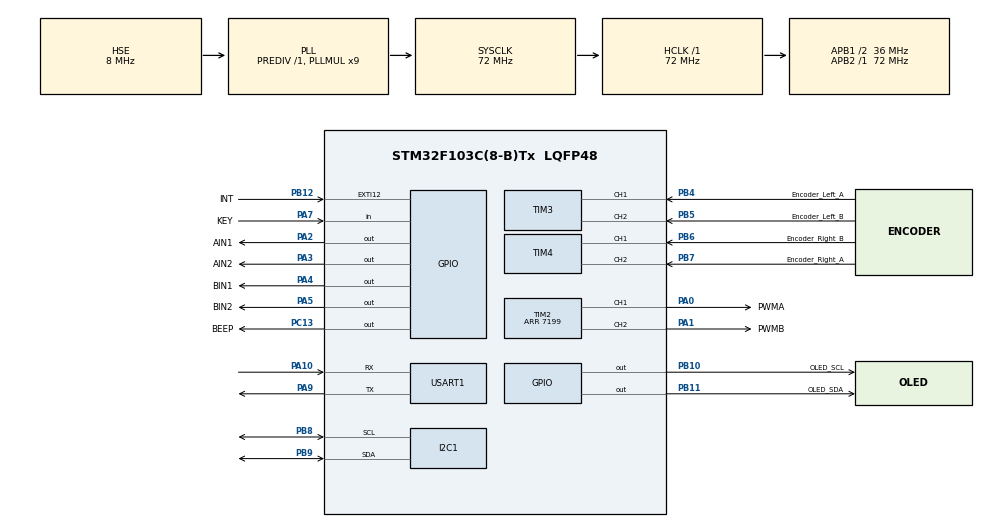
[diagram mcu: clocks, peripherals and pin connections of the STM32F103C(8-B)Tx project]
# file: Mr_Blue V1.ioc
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I2C1.I2C_Mode=I2C_Fast
Mcu.Family=STM32F1
Mcu.Name=STM32F103C(8-B)Tx
Mcu.Package=LQFP48
NVIC.EXTI15_10_IRQn=true\:3\:0\:true\:false\:true\:true\:true\:true
NVIC.PriorityGroup=NVIC_PRIORITYGROUP_2
NVIC.TIM1_BRK_IRQn=true\:0\:0\:false\:false\:true\:true\:true\:true
NVIC.TIM2_IRQn=true\:0\:0\:false\:false\:true\:true\:true\:true
NVIC.TIM3_IRQn=true\:0\:0\:false\:false\:true\:true\:true\:true
NVIC.TIM4_IRQn=true\:0\:0\:false\:false\:true\:true\:true\:true
NVIC.USART1_IRQn=true\:0\:0\:false\:false\:true\:true\:true\:true
PA0-WKUP.GPIO_Label=PWMA
PA0-WKUP.GPIO_ModeDefaultPP=GPIO_MODE_AF_PP
PA0-WKUP.GPIO_Speed=GPIO_SPEED_FREQ_HIGH
PA0-WKUP.Signal=S_TIM2_CH1_ETR
PA1.GPIO_Label=PWMB
PA1.GPIO_Speed=GPIO_SPEED_FREQ_HIGH
PA1.Signal=S_TIM2_CH2
PA10.Mode=Asynchronous
PA10.Signal=USART1_RX
PA13.Mode=Serial_Wire
PA13.Signal=SYS_JTMS-SWDIO
PA14.Mode=Serial_Wire
PA14.Signal=SYS_JTCK-SWCLK
PA2.GPIO_Label=AIN1
PA2.GPIO_ModeDefaultOutputPP=GPIO_MODE_OUTPUT_PP
PA2.GPIO_PuPd=GPIO_NOPULL
PA2.GPIO_Speed=GPIO_SPEED_FREQ_HIGH
PA2.PinState=GPIO_PIN_RESET
PA2.Signal=GPIO_Output
PA3.GPIO_Label=AIN2
PA3.GPIO_PuPd=GPIO_NOPULL
PA3.GPIO_Speed=GPIO_SPEED_FREQ_HIGH
PA3.PinState=GPIO_PIN_RESET
PA3.Signal=GPIO_Output
PA4.GPIO_Label=BIN1
PA4.GPIO_Speed=GPIO_SPEED_FREQ_HIGH
PA4.PinState=GPIO_PIN_RESET
PA4.Signal=GPIO_Output
PA5.GPIO_Label=BIN2
PA5.GPIO_Speed=GPIO_SPEED_FREQ_HIGH
PA5.PinState=GPIO_PIN_RESET
PA5.Signal=GPIO_Output
PA7.GPIO_Label=KEY
PA7.GPIO_PuPd=GPIO_PULLUP
PA7.Signal=GPIO_Input
PA9.Mode=Asynchronous
PA9.Signal=USART1_TX
PB10.GPIO_Label=OLED_SCL
PB10.GPIO_Speed=GPIO_SPEED_FREQ_HIGH
PB10.PinState=GPIO_PIN_RESET
PB10.Signal=GPIO_Output
PB11.GPIO_Label=OLED_SDA
PB11.GPIO_Speed=GPIO_SPEED_FREQ_HIGH
PB11.PinState=GPIO_PIN_RESET
PB11.Signal=GPIO_Output
PB12.GPIO_Label=INT
PB12.GPIO_ModeDefaultEXTI=GPIO_MODE_IT_FALLING
PB12.GPIO_PuPd=GPIO_PULLUP
PB12.Signal=GPXTI12
PB4.GPIO_Label=Encoder_Left_A
PB4.GPIO_PuPd=GPIO_PULLUP
PB4.Signal=S_TIM3_CH1
PB5.GPIO_Label=Encoder_Left_B
PB5.GPIO_PuPd=GPIO_PULLUP
PB5.Signal=S_TIM3_CH2
PB6.GPIO_Label=Encoder_Right_B
PB6.GPIO_PuPd=GPIO_PULLUP
PB6.Signal=S_TIM4_CH1
PB7.GPIO_Label=Encoder_Right_A
PB7.GPIO_PuPd=GPIO_PULLUP
PB7.Signal=S_TIM4_CH2
PB8.Mode=I2C
PB8.Signal=I2C1_SCL
PB9.Mode=I2C
PB9.Signal=I2C1_SDA
PC13-TAMPER-RTC.GPIO_Label=BEEP
PC13-TAMPER-RTC.PinState=GPIO_PIN_SET
PC13-TAMPER-RTC.Signal=GPIO_Output
PD0-OSC_IN.Mode=HSE-External-Oscillator
PD0-OSC_IN.Signal=RCC_OSC_IN
PD1-OSC_OUT.Mode=HSE-External-Oscillator
PD1-OSC_OUT.Signal=RCC_OSC_OUT
ProjectManager.HeapSize=0x200
ProjectManager.StackSize=0x400
ProjectManager.TargetToolchain=MDK-ARM V5.32
RCC.AHBFreq_Value=72000000
RCC.APB1CLKDivider=RCC_HCLK_DIV2
RCC.APB1Freq_Value=36000000
RCC.APB1TimFreq_Value=72000000
RCC.APB2Freq_Value=72000000
RCC.APB2TimFreq_Value=72000000
RCC.HCLKFreq_Value=72000000
RCC.PLLMUL=RCC_PLL_MUL9
RCC.PLLSourceVirtual=RCC_PLLSOURCE_HSE
RCC.SYSCLKFreq_VALUE=72000000
RCC.SYSCLKSource=RCC_SYSCLKSOURCE_PLLCLK
RCC.USBFreq_Value=72000000
SH.S_TIM2_CH1_ETR.0=TIM2_CH1,PWM Generation1 CH1
SH.S_TIM2_CH2.0=TIM2_CH2,PWM Generation2 CH2
SH.S_TIM3_CH1.0=TIM3_CH1,Encoder_Interface
SH.S_TIM3_CH2.0=TIM3_CH2,Encoder_Interface
SH.S_TIM4_CH1.0=TIM4_CH1,Encoder_Interface
SH.S_TIM4_CH2.0=TIM4_CH2,Encoder_Interface
TIM1.Period=10-1
TIM1.Prescaler=7200-1
TIM2.Channel-PWM\ Generation1\ CH1=TIM_CHANNEL_1
TIM2.Channel-PWM\ Generation2\ CH2=TIM_CHANNEL_2
TIM2.Period=7199
TIM3.EncoderMode=TIM_ENCODERMODE_TI12
TIM4.EncoderMode=TIM_ENCODERMODE_TI12
USART1.VirtualMode=VM_ASYNC
VP_TIM1_VS_ClockSourceINT.Mode=Internal
VP_TIM2_VS_ClockSourceINT.Mode=Internal
board=custom

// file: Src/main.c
/* USER CODE BEGIN Header */
/**
  ******************************************************************************
  * @file           : main.c
  * @brief          : Main program body
  ******************************************************************************
  * @attention
  *
  * Copyright (c) 2023 STMicroelectronics.
  * All rights reserved.
  *
  * This software is licensed under terms that can be found in the LICENSE file
  * in the root directory of this software component.
  * If no LICENSE file comes with this software, it is provided AS-IS.
  *
  ******************************************************************************
  */
/* USER CODE END Header */
#include "main.h"
#include "i2c.h"
#include "tim.h"
#include "usart.h"
#include "gpio.h"

/* USER CODE BEGIN Includes */
// #include "OLED.h"
// #include "mpu6050.h"
// #include "inv_mpu.h"
// #include "inv_mpu_dmp_motion_driver.h"
/* USER CODE END Includes */

void SystemClock_Config(void);

/* USER CODE BEGIN 0 */
char Buff[50];//存储数据
uint8_t Data;	//暂存数据
int Cnt = 0;	//计数

/* 蓝牙回调函数 */
void HAL_UART_RxCpltCallback(UART_HandleTypeDef *huart)
{
	if(huart == &huart1)
	{
			Buff[Cnt++] = (char)Data;
			if(Buff[Cnt-1] == 0x0A)//判断是否为回车结尾
      {
        OLED_ShowString(4,1,(char *)Buff);//oled显示接收到的字符串
        Cnt = 0;
      }
			// {
			// 	printf("\n蓝牙返回的数据为：\n");
			// 	HAL_UART_Transmit_IT(&huart1, (uint8_t *)Buff, Cnt);//显示在串口助手
			//
			// }
		HAL_UART_Receive_IT(&huart1, &Data, sizeof(Data));//继续接收数据
	}
}
//外部中断
uint8_t cnt_data;
// float pitch,roll,yaw;
float pitch,roll,yaw; 								  			 //欧拉角(姿态角)
short aacx,aacy,aacz;													 //加速度传感器原始数据
short gyrox,gyroy,gyroz;											 //陀螺仪原始数据
float temp; 								  								 //温度
int ver_out,vel_out,PWM_end,move;
uint32_t Encoder_Left,Encoder_Right,a;
// uint8_t keyflag = 1;
void HAL_GPIO_EXTI_Callback(uint16_t GPIO_Pin)
{
    if(GPIO_Pin == INT_Pin)
    {
        if(mpu_dmp_get_data(&pitch,&roll,&yaw)==0)
        {
          if(++cnt_data == 4)//刷新速率
          {
            // OLED_ShowSignedNum(1,8,(int32_t)(pitch * 10000),7);
            // OLED_ShowSignedNum(2,8,(int32_t)(roll * 10000),7);
            // OLED_ShowSignedNum(3,8,(int32_t)(yaw * 10000),7);

            OLED_ShowNum(1,8,ver_out,7);
            OLED_ShowNum(2,8,vel_out,7);
            OLED_ShowNum(3,8,PWM_end,7);

            cnt_data = 0;
          }
        }
        HAL_GPIO_TogglePin(INT_GPIO_Port, INT_Pin);
        __HAL_GPIO_EXTI_CLEAR_IT(GPIO_Pin);
    }
}
/* USER CODE END 0 */

int main(void)
{

  /* MCU Configuration--------------------------------------------------------*/

  /* Reset of all peripherals, Initializes the Flash interface and the Systick. */
  HAL_Init();

  /* Configure the system clock */
  SystemClock_Config();

  /* Initialize all configured peripherals */
  MX_GPIO_Init();
  MX_I2C1_Init();
  MX_TIM2_Init();
  MX_TIM3_Init();
  MX_TIM4_Init();
  MX_USART1_UART_Init();
  MX_TIM1_Init();
  /* USER CODE BEGIN 2 */
  HAL_UART_Receive_IT(&huart1, &Data, sizeof(Data));
  // HAL_TIM_PWM_Start(&htim2,TIM_CHANNEL_1);
  // HAL_TIM_PWM_Start(&htim2,TIM_CHANNEL_2);

	HAL_TIM_PWM_Start(&htim2,TIM_CHANNEL_1);//PWMA启动函数
	HAL_TIM_PWM_Start(&htim2,TIM_CHANNEL_2);//PWMB启动函数
	HAL_TIM_Base_Start_IT(&htim1);//开启10ms中断
	HAL_TIM_Encoder_Start(&htim3,TIM_CHANNEL_1);//编码器
	HAL_TIM_Encoder_Start(&htim3,TIM_CHANNEL_2);
	HAL_TIM_Base_Start_IT(&htim3);//开启中断
	HAL_TIM_Encoder_Start(&htim4,TIM_CHANNEL_1);//编码器
	HAL_TIM_Encoder_Start(&htim4,TIM_CHANNEL_2);
	HAL_TIM_Base_Start_IT(&htim4);//开启中断

  // __HAL_TIM_SET_COMPARE(&htim2,TIM_CHANNEL_1,3600);
  // __HAL_TIM_SET_COMPARE(&htim2,TIM_CHANNEL_2,3600);
  // Set_Pwmb(3600);
  // Set_Pwma(3600);

  OLED_Init();//OLED初始化

  /* USER CODE END 2 */

  /* Infinite loop */
  /* USER CODE BEGIN WHILE */
  OLED_ShowString(1,1,"MPU Initialzing");
  OLED_ShowString(2,1,"Please");
  OLED_ShowString(3,1,"Wait...");
  OLED_DrawBMP(70,2,120,7,kaf);
  while(mpu_dmp_init()) HAL_Delay(50);
  OLED_Clear();
  HAL_Delay(20);
  OLED_ShowString(4,1,"INIT FINISHED!");
  OLED_ShowString(1,1,"ver:");
  OLED_ShowString(2,1,"vel:");
  OLED_ShowString(3,1,"PWM:");
  while(HAL_GPIO_ReadPin(KEY_GPIO_Port,KEY_Pin));

  while (1)
  {
    /* USER CODE END WHILE */

    /* USER CODE BEGIN 3 */

    mpu_dmp_get_data(&pitch,&roll,&yaw);			//得到姿态角即欧拉角
		MPU6050_Read_Gyro();	//得到陀螺仪数据,读取角速度

		ver_out = Vertical(pitch,Mpu6050_Data.Gyro_Y);
		vel_out = Velocity(Encoder_Left,Encoder_Right,move);
		PWM_end = ver_out + vel_out;

    // if(keyflag)
		  car_go(PWM_end*0.9,PWM_end);
    // else
    //   car_stop();
		// mpu_dmp_get_data(&pitch,&roll,&yaw);
		// printf("%.3f,%.3f,%.3f,%d\r\n",pitch,roll,yaw,MPU_Get_Temperature());

    // if(HAL_GPIO_ReadPin(KEY_GPIO_Port,KEY_Pin) == 0){
    //     Set_Pwmb(-7199);
    //     Set_Pwma(-7199);
    // }
    // else{
    //    Set_Pwmb(3000);
    //    Set_Pwma(3000);
    // }
    // HAL_GPIO_TogglePin(GPIOC,GPIO_PIN_13);
    // HAL_Delay(500);
  }
  /* USER CODE END 3 */
}

void SystemClock_Config(void)
{
  RCC_OscInitTypeDef RCC_OscInitStruct = {0};
  RCC_ClkInitTypeDef RCC_ClkInitStruct = {0};

  /** Initializes the RCC Oscillators according to the specified parameters
  * in the RCC_OscInitTypeDef structure.
  */
  RCC_OscInitStruct.OscillatorType = RCC_OSCILLATORTYPE_HSE;
  RCC_OscInitStruct.HSEState = RCC_HSE_ON;
  RCC_OscInitStruct.HSEPredivValue = RCC_HSE_PREDIV_DIV1;
  RCC_OscInitStruct.HSIState = RCC_HSI_ON;
  RCC_OscInitStruct.PLL.PLLState = RCC_PLL_ON;
  RCC_OscInitStruct.PLL.PLLSource = RCC_PLLSOURCE_HSE;
  RCC_OscInitStruct.PLL.PLLMUL = RCC_PLL_MUL9;
  if (HAL_RCC_OscConfig(&RCC_OscInitStruct) != HAL_OK)
  {
    Error_Handler();
  }

  /** Initializes the CPU, AHB and APB buses clocks
  */
  RCC_ClkInitStruct.ClockType = RCC_CLOCKTYPE_HCLK|RCC_CLOCKTYPE_SYSCLK
                              |RCC_CLOCKTYPE_PCLK1|RCC_CLOCKTYPE_PCLK2;
  RCC_ClkInitStruct.SYSCLKSource = RCC_SYSCLKSOURCE_PLLCLK;
  RCC_ClkInitStruct.AHBCLKDivider = RCC_SYSCLK_DIV1;
  RCC_ClkInitStruct.APB1CLKDivider = RCC_HCLK_DIV2;
  RCC_ClkInitStruct.APB2CLKDivider = RCC_HCLK_DIV1;

  if (HAL_RCC_ClockConfig(&RCC_ClkInitStruct, FLASH_LATENCY_2) != HAL_OK)
  {
    Error_Handler();
  }
}

/* USER CODE BEGIN 4 */

void HAL_TIM_PeriodElapsedCallback(TIM_HandleTypeDef *htim)
{
	static uint8_t Encoder_time;//,keycnt
	if (htim == (&htim1))
	{
		Encoder_time++;
		// OLED_cnt++;

// 		if(OLED_cnt == 500)
// 		{
// //			OLED_ShowSignedNum(3,1,Encoder_Left,3);
// //			OLED_ShowSignedNum(4,1,Encoder_Right,3);
// 			OLED_ShowSignedNum(3,1,move/10,3);
// 			OLED_cnt = 0;
// 		}
		// if(keycnt >= 80)
		// {
		// 	if(HAL_GPIO_ReadPin(KEY_GPIO_Port,KEY_Pin) == 0){
    //     keyflag = 1;
    //   }
    //   else  keyflag = 0;
		// 	keycnt=0;
		// }

		if(Encoder_time >= 10)//编码器控制周期10ms
		{
			Encoder_Left = Read_Encoder(3);
			Encoder_Right = Read_Encoder(4);
			Encoder_time = 0;

		}
	}
}

/* USER CODE END 4 */

void Error_Handler(void)
{
  __disable_irq();
  while (1)
  {
  }
}
